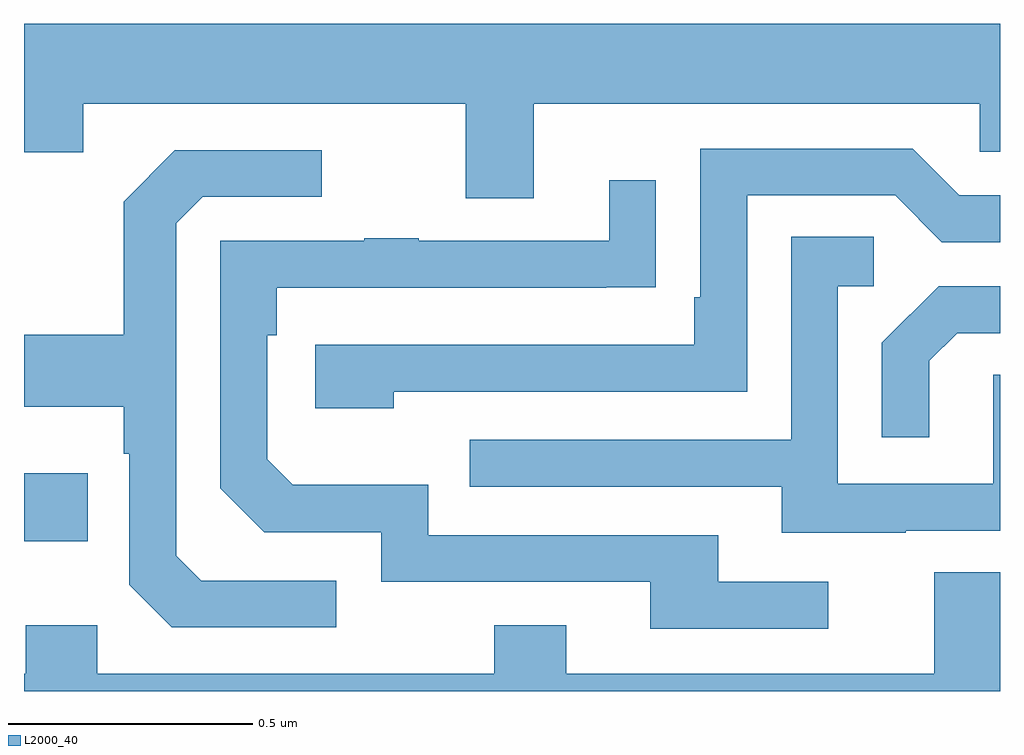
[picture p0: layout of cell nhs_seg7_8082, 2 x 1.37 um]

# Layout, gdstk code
import gdstk
lib = gdstk.Library(unit=1e-6, precision=1e-09)
def R(c, l, rs):  # rectangles x0, y0, x1, y1
    for r in rs: c.add(gdstk.rectangle(r[:2], r[2:], *l))
def P(c, l, *ps):  # polygons
    for p in ps: c.add(gdstk.Polygon(p, *l))
L2000_40 = (2000, 40)

nhs_seg7_8082 = lib.new_cell('nhs_seg7_8082')
R(nhs_seg7_8082, L2000_40, [(219,1078.307,219.131,1078.447)])
P(nhs_seg7_8082, L2000_40, [(220.045,1079.204),(220.959,1079.204),(220.959,1079.106),(221,1079.106),(221,1079.368),(219,1079.368),(219,1079.105),(219.121,1079.105),(219.121,1079.204),(219.905,1079.204),(219.905,1079.01),(220.045,1079.01)],
  [(219.758,1078.614),(220.482,1078.614),(220.482,1079.016),(220.785,1079.016),(220.881,1078.92),(221,1078.92),(221,1079.016),(220.917,1079.016),(220.821,1079.112),(220.386,1079.112),(220.386,1078.807),(220.373,1078.807),(220.373,1078.71),(219.597,1078.71),(219.597,1078.58),(219.758,1078.58)],
  [(219.64,1078.227),(219.363,1078.227),(219.312,1078.278),(219.312,1078.959),(219.366,1079.013),(219.61,1079.013),(219.61,1079.109),(219.309,1079.109),(219.204,1079.003),(219.204,1078.731),(219,1078.731),(219,1078.583),(219.204,1078.583),(219.204,1078.487),(219.216,1078.487),(219.216,1078.218),(219.303,1078.131),(219.64,1078.131)],
  [(220.648,1078.224),(220.423,1078.224),(220.423,1078.32),(219.828,1078.32),(219.828,1078.423),(219.551,1078.423),(219.498,1078.476),(219.498,1078.73),(219.518,1078.73),(219.518,1078.827),(220.193,1078.827),(220.193,1078.828),(220.295,1078.828),(220.295,1079.047),(220.199,1079.047),(220.199,1078.923),(219.809,1078.923),(219.809,1078.928),(219.697,1078.928),(219.697,1078.923),(219.402,1078.923),(219.402,1078.416),(219.492,1078.326),(219.732,1078.326),(219.732,1078.224),(220.283,1078.224),(220.283,1078.128),(220.648,1078.128)],
  [(220.807,1078.329),(221,1078.329),(221,1078.649),(220.986,1078.649),(220.986,1078.425),(220.668,1078.425),(220.668,1078.83),(220.741,1078.83),(220.741,1078.931),(220.572,1078.931),(220.572,1078.515),(219.913,1078.515),(219.913,1078.419),(220.553,1078.419),(220.553,1078.325),(220.807,1078.325)],
  [(220.855,1078.677),(220.912,1078.734),(221,1078.734),(221,1078.83),(220.874,1078.83),(220.758,1078.714),(220.758,1078.521),(220.855,1078.521)],
  [(221,1078.244),(220.865,1078.244),(220.865,1078.036),(220.111,1078.036),(220.111,1078.135),(219.964,1078.135),(219.964,1078.036),(219.15,1078.036),(219.15,1078.135),(219.004,1078.135),(219.004,1078.036),(219,1078.036),(219,1078),(221,1078)])

lib.write_gds('nhs_seg7_8082.gds')
